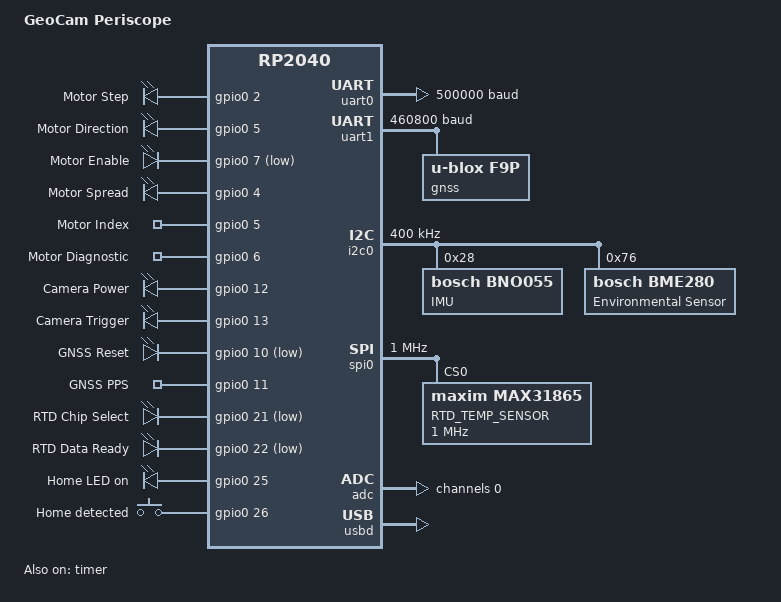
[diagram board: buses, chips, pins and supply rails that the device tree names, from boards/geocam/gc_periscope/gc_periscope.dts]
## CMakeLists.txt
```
cmake_minimum_required(VERSION 3.20.0)
list(APPEND BOARD_ROOT ${CMAKE_CURRENT_SOURCE_DIR})
find_package(Zephyr REQUIRED HINTS $ENV{ZEPHYR_BASE})
project(periscope_firmware)
FILE(GLOB app_sources src/*.c)
target_sources(app PRIVATE ${app_sources})
```

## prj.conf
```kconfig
CONFIG_USB_DEVICE_STACK=y
CONFIG_USB_DEVICE_PRODUCT="GeoCam Periscope"
CONFIG_USB_DEVICE_VID=0001
CONFIG_USB_DEVICE_MANUFACTURER="GeoCam"
CONFIG_USB_DEVICE_INITIALIZE_AT_BOOT=n
CONFIG_GPIO=y
CONFIG_EVENTS=y
CONFIG_SERIAL=y
CONFIG_LOG=y
CONFIG_LOG_PROCESS_TRIGGER_THRESHOLD=2
CONFIG_UART_ASYNC_API=y
CONFIG_CONSOLE=y
CONFIG_CBPRINTF_FP_SUPPORT=y
CONFIG_PIO_RPI_PICO=y
CONFIG_RESET=y
CONFIG_UART_CONSOLE=y
CONFIG_UART_LINE_CTRL=y
CONFIG_GNSS=y
CONFIG_ADC=y
CONFIG_GNSS_SATELLITES=y

CONFIG_WATCHDOG=n
CONFIG_WDT_DISABLE_AT_BOOT=y
```

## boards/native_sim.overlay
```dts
/*
 * native_sim overlay for GeoCam Periscope simulation
 * This provides GPIO emulation and multiple UARTs via host interfaces
 */

/ {
	aliases {
		/* Multiple UART support via host pseudo-terminals */
		motor-uart = &uart_motor;       /* Motor Driver - /dev/pts/1 */
		gnss-uart = &uart_gnss;        /* GNSS - /dev/pts/2 */
		console-uart = &uart_console;     /* Console/debug - /dev/pts/3 */

		/* I2C emulation for sensors */
		sensor-i2c = &i2c0;
	};

	/* Simulate motor control GPIOs as LEDs (outputs you can monitor) */
	motor_control {
		compatible = "gpio-leds";

		motor_step: motor_step {
			gpios = <&gpio0 0 GPIO_ACTIVE_HIGH>;
			label = "Motor Step (simulated)";
		};

		motor_dir: motor_dir {
			gpios = <&gpio0 1 GPIO_ACTIVE_HIGH>;
			label = "Motor Direction (simulated)";
		};

		motor_enable: motor_enable {
			gpios = <&gpio0 2 GPIO_ACTIVE_LOW>;
			label = "Motor Enable (simulated)";
		};

		motor_spread: motor_spread {
			gpios = <&gpio0 3 GPIO_ACTIVE_HIGH>;
			label = "Motor Spread (simulated)";
		};
	};

	/* Simulate motor feedback inputs as buttons (inputs you can trigger) */
	motor_inputs {
		compatible = "gpio-keys";

		motor_index: motor_index {
			gpios = <&gpio0 4 (GPIO_PULL_UP | GPIO_ACTIVE_LOW)>;
			label = "Motor Index (simulated)";
		};

		motor_diagnostic: motor_diagnostic {
			gpios = <&gpio0 5 (GPIO_PULL_UP | GPIO_ACTIVE_LOW)>;
			label = "Motor Diagnostic (simulated)";
		};
	};

	/* Camera control GPIOs */
	camera_control {
		compatible = "gpio-leds";

		cam_power: cam_power {
			gpios = <&gpio0 6 GPIO_ACTIVE_HIGH>;
			label = "Camera Power (simulated)";
		};

		cam_trigger: cam_trigger {
			gpios = <&gpio0 7 GPIO_ACTIVE_HIGH>;
			label = "Camera Trigger (simulated)";
		};
	};

	/* GNSS control and inputs */
	gnss_control {
		compatible = "gpio-leds";

		gnss_reset: gnss_reset {
			gpios = <&gpio0 8 GPIO_ACTIVE_LOW>;
			label = "GNSS Reset (simulated)";
		};
	};

	gnss_inputs {
		compatible = "gpio-keys";

		gnss_pps: gnss_pps {
			gpios = <&gpio0 9 (GPIO_PULL_DOWN | GPIO_ACTIVE_HIGH)>;
			label = "GNSS PPS (simulated)";
		};
	};

	/* Chosen node for console */
	chosen {
		zephyr,console = &uart_console;    /* Separate console UART */
		zephyr,shell-uart = &uart_console;
	};

	uart_motor: uart@100 {
		compatible = "zephyr,native-pty-uart";
		reg = <0x100 0x100>;
		status = "okay";
		current-speed = <115200>;
		label = "MOTOR_UART";
	};

	uart_gnss: uart@200 {
		compatible = "zephyr,native-pty-uart";
		reg = <0x200 0x100>;
		status = "okay";
		current-speed = <9600>;
		label = "GNSS_UART";
	};

	uart_console: uart@300 {
		compatible = "zephyr,native-pty-uart";
		reg = <0x300 0x100>;
		status = "okay";
		current-speed = <115200>;
		label = "CONSOLE_UART";
	};
};

/* Configure multiple UARTs - native_sim supports multiple instances */
//&uart0 {
//	status = "okay";
//	current-speed = <115200>;
//	label = "MOTOR_UART";
//};
//
//&uart1 {
//	status = "okay";
//	current-speed = <9600>;
//	label = "GNSS_UART";
//};
//
//&uart2 {
//	status = "okay";
//	current-speed = <115200>;
//	label = "CONSOLE_UART";
//};

/* Configure I2C for sensor emulation */
&i2c0 {
	status = "okay";
	clock-frequency = <400000>; /* 400 kHz */
	label = "SENSOR_I2C";

	/* Simulate your IMU */
	imu: imu@28 {
		compatible = "zephyr,i2c-emul-bme280"; /* Emulated BME280 */
		reg = <0x28>;
		label = "IMU_EMU";
	};

	/* Simulate your environmental sensor */
	env: env@76 {
		compatible = "zephyr,i2c-emul-bme280"; /* Emulated BME280 */
		reg = <0x76>;
		label = "ENV_EMU";
	};
};

/* Enable GPIO emulation */
&gpio0 {
	status = "okay";
	ngpios = <32>;  /* Number of GPIO pins to emulate */
};
```

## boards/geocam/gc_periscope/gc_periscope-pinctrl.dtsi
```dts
#include <dt-bindings/pinctrl/rpi-pico-rp2040-pinctrl.h>


&pinctrl {
	/* Motor Driver UART pins (GP0 TX, GP1 RX) */
	uart0_default: uart0_default {
		group1 {
			pinmux = <UART0_TX_P0>;     /* GP0 -> MOTOR.TXD */
		};
		group2 {
			pinmux = <UART0_RX_P1>;     /* GP1 -> MOTOR.RXD */
			input-enable;
		};
	};

	/* GNSS UART pins (GP8 TX, GP9 RX) */
	uart1_default: uart1_default {
		group1 {
			pinmux = <UART1_TX_P8>;    /* GP8 -> GNSS.TXD */
		};
		group2 {
			pinmux = <UART1_RX_P9>;    /* GP9 -> GNSS.RXD */
			input-enable;
		};
	};

	/* I2C pins for sensors (GP16 SDA, GP17 SCL) */
	i2c0_default: i2c0_default {
		group1 {
			pinmux = <I2C0_SDA_P16>, <I2C0_SCL_P17>;
			input-enable;
			input-schmitt-enable;
		};
	};

	/* SPI pins */
	spi0_default: spi0_default {
		group1 {
			pinmux = <SPI0_CSN_P21>, <SPI0_SCK_P18>, <SPI0_TX_P19>;
		};
		group2 {
			pinmux = <SPI0_RX_P20>;
			input-enable;
		};
	};
};
```

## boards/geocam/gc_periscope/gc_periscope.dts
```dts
/dts-v1/;
#include <raspberrypi/rpi_pico/rp2040.dtsi>
#include "gc_periscope-pinctrl.dtsi"

/ {
	model = "GeoCam Periscope";
	compatible = "geocam,gc_periscope";

	chosen {
		zephyr,sram = &sram0;
		zephyr,flash = &flash0;
		zephyr,flash-controller = &ssi;
		zephyr,console = &cdc_acm_uart0;
		zephyr,shell-uart = &uart0;
		zephyr,code-partition = &code_partition;
	};

	aliases {
		/* UART aliases */
		motor-uart = &uart0;            /* Motor Driver on GP0/GP1 */
		gnss-uart = &uart1;             /* GNSS on GP8/GP9 */
		console-uart = &uart0;          /* Can share with motor */

		/* I2C alias */
		sensor-i2c = &i2c0;             /* Sensors on GP16/GP17 */

		/* SPI alias for RTD temperature sensor */
		rtd-spi = &spi0;
	};


	/* GPIO configuration for motor driver */
	motor_control {
		compatible = "gpio-leds";

		motor_step: motor_step {
			gpios = <&gpio0 2 GPIO_ACTIVE_HIGH>;    /* STEP */
			label = "Motor Step";
		};

		motor_dir: motor_dir {
			gpios = <&gpio0 5 GPIO_ACTIVE_HIGH>;     /* DIR */
			label = "Motor Direction";
		};

		motor_enable: motor_enable {
			gpios = <&gpio0 7 GPIO_ACTIVE_LOW>;      /* Enable (active low) */
			label = "Motor Enable";
		};

		motor_spread: motor_spread {
			gpios = <&gpio0 4 GPIO_ACTIVE_HIGH>;     /* SPREAD */
			label = "Motor Spread";
		};
	};

	motor_inputs {
		compatible = "gpio-keys";

		motor_index: motor_index {
			gpios = <&gpio0 5 GPIO_ACTIVE_HIGH>;    /* INDEX */
			label = "Motor Index";
		};

		motor_diagnostic: motor_diagnostic {
			gpios = <&gpio0 6 GPIO_ACTIVE_HIGH>;    /* DIAGNOSTIC */
			label = "Motor Diagnostic";
		};
	};

	/* Camera/sensor controls */
	camera_control {
		compatible = "gpio-leds";

		cam_power: cam_power {
			gpios = <&gpio0 12 GPIO_ACTIVE_HIGH>;    /* CAM_PWR */
			label = "Camera Power";
		};

		cam_trigger: cam_trigger {
			gpios = <&gpio0 13 GPIO_ACTIVE_HIGH>;    /* CAM_TRIGGER */
			label = "Camera Trigger";
		};
	};

	gnss_control {
		compatible = "gpio-leds";

		gnss_reset: gnss_reset {
			gpios = <&gpio0 10 GPIO_ACTIVE_LOW>;     /* GNSS_RST */
			label = "GNSS Reset";
		};
	};

	gnss_inputs {
		compatible = "gpio-keys";

		gnss_pps: gnss_pps {
			gpios = <&gpio0 11 GPIO_ACTIVE_HIGH>;    /* GNSS_PPS */
			label = "GNSS PPS";
		};
	};

	/* RTD temperature sensor controls */
	rtd_control {
		compatible = "gpio-leds";

		rtd_cs: rtd_cs {
			gpios = <&gpio0 21 GPIO_ACTIVE_LOW>;     /* RTD_CS (GP35) */
			label = "RTD Chip Select";
		};

		rtd_drdy: rtd_drdy {
			gpios = <&gpio0 22 GPIO_ACTIVE_LOW>;     /* RTD_DRDY (GP36) */
			label = "RTD Data Ready";
		};
	};

	home_control {
		compatible = "gpio-leds";

		home_on: home_on {
			gpios = <&gpio0 25 GPIO_ACTIVE_HIGH>;     /* RTD_CS (GP35) */
			label = "Home LED on";
		};
	};

	home_inputs {
		compatible = "gpio-keys";

		home_det: home_det {
			gpios = <&gpio0 26 GPIO_ACTIVE_HIGH>;
			label = "Home detected";
		};
	};
};

&clk_sys {
	clock-frequency = <125000000>;  /* 125 MHz */
};

&flash0 {
	reg = <0x10000000 DT_SIZE_M(2)>;

	partitions {
		compatible = "fixed-partitions";
		#address-cells = <1>;
		#size-cells = <1>;

		/* Reserved memory for the second stage bootloader */
		second_stage_bootloader: partition@0 {
			label = "second_stage_bootloader";
			reg = <0x00000000 0x100>;
			read-only;
		};

		/*
		 * Usable flash. Starts at 0x100, after the bootloader. The partition
		 * size is 2MB minus the 0x100 bytes taken by the bootloader.
		 */
		code_partition: partition@100 {
			label = "code-partition";
			reg = <0x100 (DT_SIZE_M(2) - 0x100)>;
			read-only;
		};
	};
};

/* Motor Driver UART (GP0 TX, GP1 RX) */
&uart0 {
	status = "okay";
	current-speed = <500000>;           /* Adjust for Trinamic requirements */
	pinctrl-0 = <&uart0_default>;
	pinctrl-names = "default";
	label = "MOTOR_UART";
};

/* GNSS UART (GP8 TX, GP19 RX) */
&uart1 {
	status = "okay";
//	current-speed = <38400>;             /* Typical GNSS baud rate */
	current-speed = <460800>;             /* Typical GNSS baud rate */
	pinctrl-0 = <&uart1_default>;
	pinctrl-names = "default";
	label = "GNSS_UART";
	gnss: u_blox_f9 {
		compatible = "u-blox,f9p";
		status = "okay";
	};
};

/* I2C for sensors (GP17 SDA, GP16 SCL) */
&i2c0 {
	status = "okay";
	clock-frequency = <I2C_BITRATE_FAST>;
	pinctrl-0 = <&i2c0_default>;
	pinctrl-names = "default";
	label = "SENSOR_I2C";

	imu: imu@28 {
		compatible = "bosch,bno055";
		reg = <0x28>;
		label = "IMU";
	};

	env: env@76 {
		compatible = "bosch,bme280";
		reg = <0x76>;
		label = "Environmental Sensor";
	};
};

/* SPI for RTD temperature sensor (GP18 SCLK, GP19 SDI, GP20 SDO) */
&spi0 {
	status = "okay";
	clock-frequency = <1000000>;        /* 1 MHz for RTD */
	pinctrl-0 = <&spi0_default>;
	pinctrl-names = "default";
	label = "RTD_SPI";

	/* RTD temperature sensor device */
	rtd_sensor: rtd@0 {
		compatible = "maxim,max31865";   /* Example RTD-to-digital converter */
		reg = <0>;                      /* CS index */
		spi-max-frequency = <1000000>;
		label = "RTD_TEMP_SENSOR";

		/* Required properties for MAX31865 */
		resistance-at-zero = <100>;     /* 100Ω for PT100, 1000 for PT1000 */
		resistance-reference = <430>;   /* Reference resistor value in Ω */
		filter-50hz;                   /* Use 50Hz filter (remove for 60Hz) */
	};
};

/* ADC for analog sensors */
&adc {
	status = "okay";
	#address-cells = <1>;
	#size-cells = <0>;

	channel@0 {
		reg = <0>;
		zephyr,gain = "ADC_GAIN_1";
		zephyr,reference = "ADC_REF_INTERNAL";
		zephyr,acquisition-time = <ADC_ACQ_TIME_DEFAULT>;
		zephyr,resolution = <12>;
	};
};

&gpio0 {
	status = "okay";
};

&timer {
	status = "okay";
//	counter-mode = "external-clock";
};

&pio0 {
	status = "okay";
};


zephyr_udc0: &usbd {
	status = "okay";
	cdc_acm_uart0: cdc_acm_uart0 {
		compatible = "zephyr,cdc-acm-uart";
		label = "CONSOLE";
	};

	cdc_acm_uart1: cdc_acm_uart1 {
		compatible = "zephyr,cdc-acm-uart";
		label = "DATA";
	};
};
```

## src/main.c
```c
#include <zephyr/kernel.h>
#include <zephyr/usb/usb_device.h>
#include <zephyr/drivers/uart.h>
#include <zephyr/logging/log.h>
#include "usb_comm.h"
#include "motor_control.h"
#include "stepper.h"
#include "camera_control.h"
#include "gnss.h"
#include "messaging.h"

LOG_MODULE_REGISTER(gc_periscope, LOG_LEVEL_DBG);

int main(void)
{
    const struct device *const dev = DEVICE_DT_GET(DT_CHOSEN(zephyr_console));
    uint32_t dtr = 0;
    int timeout_count = 0;
    const int max_timeout = 5; // 0.5 second timeout

    if (usb_enable(NULL)) {
        printk("Failed to enable USB");
        return 0;
    }

    printk("Waiting for USB to stabilize...\n");
    k_sleep(K_MSEC(500));

    /* Poll DTR with timeout */
    while (!dtr && timeout_count < max_timeout) {
        printk("Polling DTR on console (%d/%d)\n", timeout_count, max_timeout);
        uart_line_ctrl_get(dev, UART_LINE_CTRL_DTR, &dtr);
        timeout_count++;
        k_sleep(K_MSEC(100));
    }

    if (dtr) {
        printk("DTR detected, host connected\n");
    } else {
        printk("DTR timeout, continuing anyway\n");
    }


    // Initialize message queues
    message_queue_init();
    //
    // // Start all subsystem threads
    usb_comm_start();
    gnss_start();
    motor_control_start();
    camera_control_start();
    stepper_control_start();

    LOG_INF("Periscope firmware started\n");
    k_msleep(10);

    while (1) {
        start_capture();
        k_event_wait(&system_events, EVENT_REQ_STOP, true, K_FOREVER);
        stop_capture();
        k_event_wait(&system_events, EVENT_REQ_START, true, K_FOREVER);
    }

    return 0;
}
```

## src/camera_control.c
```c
#include <zephyr/drivers/spi.h>
#include "camera_control.h"
#include "gnss.h"
#include "messaging.h"
#include <zephyr/logging/log.h>

#define CAMERA_THREAD_STACK_SIZE 1024
#define CAMERA_THREAD_PRIORITY 7

LOG_MODULE_DECLARE(gc_periscope, LOG_LEVEL_DBG);

K_THREAD_STACK_DEFINE(camera_thread_stack, CAMERA_THREAD_STACK_SIZE);
static struct k_thread camera_thread_data;
static const struct gpio_dt_spec trigger_pin = GPIO_DT_SPEC_GET(DT_NODELABEL(cam_trigger), gpios);
static const struct gpio_dt_spec power_pin = GPIO_DT_SPEC_GET(DT_NODELABEL(cam_power), gpios);

K_TIMER_DEFINE(exposure_timer, NULL, NULL);

static void trigger_callback(struct k_timer *timer_id)
{
    gpio_pin_set_dt(&trigger_pin, 0);
}

K_TIMER_DEFINE(trigger_timer, trigger_callback, NULL);

void camera_init_hardware(void) {
    gpio_pin_configure_dt(&trigger_pin, GPIO_OUTPUT);
}

void camera_control_start(void) {
    // Initialize camera hardware
    camera_init_hardware();

    k_thread_create(&camera_thread_data, camera_thread_stack,
                    K_THREAD_STACK_SIZEOF(camera_thread_stack),
                    camera_thread_entry, NULL, NULL, NULL,
                    CAMERA_THREAD_PRIORITY, 0, K_NO_WAIT);
}

int32_t exposure_time_us = 500000;

void camera_trigger(void) {
    const usb_msg_t msg = {
        .type = MSG_CAMERA_TRIGGER,
        .pps_offset_us = get_pps_offset_us(),
        .data = {0}
    };
    k_msgq_put(&usb_queue, &msg, K_NO_WAIT);

    gpio_pin_set_dt(&trigger_pin, 1);
    // turn pin off after 250ns
    k_timer_start(&trigger_timer, K_NSEC(250), K_NO_WAIT);
    k_timer_start(&exposure_timer, K_USEC(exposure_time_us), K_NO_WAIT);
}

void camera_thread_entry(void *p1, void *p2, void *p3) {
    while (1) {
        k_event_wait(&system_events, EVENT_START_CAPTURE, true, K_FOREVER);
        atomic_inc(&threads_running);

        while (atomic_get(&system_capturing)) {
            uint32_t events = k_event_wait(&system_events, EVENT_POSITIONED | EVENT_STOP_CAPTURE, false, K_FOREVER);
            if (events & EVENT_STOP_CAPTURE) {
                break;
            }

            k_event_clear(&system_events, EVENT_POSITIONED);

            camera_trigger();

            // wait for exposure to finish
            k_timer_status_sync(&exposure_timer);
            k_event_post(&system_events, EVENT_EXPOSURE_COMPLETE);
        }

        k_timer_stop(&exposure_timer);
        atomic_dec(&threads_running);
        k_event_post(&system_events, EVENT_THREAD_STOPPED);
    }
}
```

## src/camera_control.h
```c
#ifndef CAMERA_CONTROL_H
#define CAMERA_CONTROL_H

void camera_control_start(void);
void camera_thread_entry(void *, void *, void *);

#endif
```

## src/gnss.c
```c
#include <zephyr/device.h>
#include <zephyr/drivers/gnss.h>
#include <zephyr/logging/log.h>
#include "gnss.h"
#include "messaging.h"

LOG_MODULE_DECLARE(gc_periscope, LOG_LEVEL_DBG);

const struct gpio_dt_spec gnss_pps_pin = GPIO_DT_SPEC_GET(DT_NODELABEL(gnss_pps), gpios);
volatile uint64_t last_pps_timestamp = 0;
struct gpio_callback pps_cb_data;
const struct device *const gnss_uart = DEVICE_DT_GET(DT_NODELABEL(gnss));
K_THREAD_STACK_DEFINE(gnss_thread_stack, GNSS_THREAD_STACK_SIZE);
struct k_thread gnss_thread_data;


static void pps_isr_handler(const struct device *port, struct gpio_callback *cb, gpio_port_pins_t pins) {
    last_pps_timestamp = k_cycle_get_64();
}


void gnss_init_hardware(void) {
    if (!device_is_ready(gnss_uart)) {
        printk("GNSS device not ready\n");
    }

    gpio_pin_configure_dt(&gnss_pps_pin, GPIO_INPUT);
    gpio_pin_interrupt_configure_dt(&gnss_pps_pin, GPIO_INT_EDGE_RISING);

    gpio_init_callback(&pps_cb_data, pps_isr_handler, BIT(gnss_pps_pin.pin));
    gpio_add_callback(gnss_pps_pin.port, &pps_cb_data);
}


// Convert cycles to microseconds since last PPS
uint32_t get_pps_offset_us(void) {
    uint64_t now = k_cycle_get_64();
    uint64_t cycles_since_pps = now - last_pps_timestamp;

    // Convert to microseconds
    return (uint32_t) (k_cyc_to_us_floor64(cycles_since_pps));
}


void gnss_start(void) {
    gnss_init_hardware();

    k_thread_create(&gnss_thread_data, gnss_thread_stack,
                    K_THREAD_STACK_SIZEOF(gnss_thread_stack),
                    gnss_thread_entry, NULL, NULL, NULL,
                    GNSS_THREAD_PRIORITY, 0, K_NO_WAIT);
}

void gnss_thread_entry(void *p1, void *p2, void *p3) {
    while (1) {
        k_sleep(K_MSEC(1000));
        uint32_t fix_rate = 0;
        gnss_get_fix_rate(gnss_uart, &fix_rate);
        LOG_INF("GNSS fix rate is %d", fix_rate);
    }
}
```

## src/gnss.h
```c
#ifndef GNSS_H
#define GNSS_H

#include <zephyr/kernel.h>
#include "zephyr/drivers/gpio.h"

#define GNSS_UART_NODE DT_ALIAS(gnss_uart)
#define GNSS_THREAD_STACK_SIZE 1024
#define GNSS_THREAD_PRIORITY 7

// Declare as extern - definitions will be in gnss.c
extern const struct gpio_dt_spec gnss_pps_pin;
extern volatile uint64_t last_pps_timestamp;
extern struct gpio_callback pps_cb_data;
extern const struct device *const gnss_uart;
extern struct k_thread gnss_thread_data;

// Function declarations
void gnss_thread_entry(void *, void *, void *);
void gnss_start(void);
uint32_t get_pps_offset_us(void);

#endif
```

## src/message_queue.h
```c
#ifndef MESSAGE_QUEUE_H
#define MESSAGE_QUEUE_H

#include <zephyr/kernel.h>

typedef enum {
    MSG_MOTOR_MOVE,
    MSG_MOTOR_COMPLETE,
    MSG_CAMERA_CAPTURE,
    MSG_CAMERA_COMPLETE,
    MSG_USB_COMMAND
} msg_type_t;

typedef struct {
    msg_type_t type;
    union {
        struct {
            int steps;
            int direction;
        } motor_cmd;
        struct {
            char command[64];
        } usb_cmd;
        // Add other message payloads
    } data;
} app_message_t;

// Queue handles
extern struct k_msgq usb_to_motor_queue;
extern struct k_msgq motor_to_camera_queue;
extern struct k_msgq camera_to_usb_queue;

void message_queue_init(void);

#endif
```

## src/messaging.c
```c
#include "messaging.h"
#include "usb_comm.h"
#include <zephyr/kernel.h>
#include <zephyr/logging/log.h>

LOG_MODULE_DECLARE(gc_periscope, LOG_LEVEL_DBG);

K_EVENT_DEFINE(system_events);
K_MSGQ_DEFINE(usb_queue, sizeof(usb_msg_t), MSG_QUEUE_SIZE, MSG_QUEUE_ALIGN);

atomic_t system_capturing = ATOMIC_INIT(0);
atomic_t threads_running = ATOMIC_INIT(0);

void message_queue_init(void)
{
    LOG_INF("Initializing message queues");

    // Purge any existing messages (shouldn't be any, but just in case)
    k_msgq_purge(&usb_queue);

    LOG_INF("Message queues initialized successfully");
}

void msg_queue_purge_all(void)
{
    LOG_INF("Purging all message queues");

    k_msgq_purge(&usb_queue);
}

void start_capture(void)
{
    if (atomic_get(&system_capturing)) {
        LOG_INF("Already capturing\n");
        return;
    }

    LOG_INF("Starting capture...");
    atomic_set(&system_capturing, 1);
    k_event_post(&system_events, EVENT_START_CAPTURE);
}

void stop_capture(void)
{
    if (!atomic_get(&system_capturing)) {
        LOG_INF("Not currently capturing");
        return;
    }

    LOG_INF("Stopping capture...");

    // Get current thread count
    int expected_stops = atomic_get(&threads_running);

    // Signal stop
    atomic_set(&system_capturing, 0);
    k_event_post(&system_events, EVENT_STOP_CAPTURE);

    // Wait for all threads to stop
    for (int i = 0; i < expected_stops; i++) {
        k_event_wait(&system_events, EVENT_THREAD_STOPPED, false, K_SECONDS(5));
    }

    // Clear events for next time
    k_event_clear(&system_events, EVENT_START_CAPTURE | EVENT_THREAD_STOPPED);

    LOG_INF("All threads stopped\n");
}
```

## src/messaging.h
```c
#ifndef MESSAGING_H
#define MESSAGING_H

#include <zephyr/kernel.h>
#include <zephyr/sys/atomic.h>


#define EVENT_START_CAPTURE     BIT(0)
#define EVENT_STOP_CAPTURE      BIT(1)
#define EVENT_THREAD_STOPPED    BIT(2)
#define EVENT_REQ_START         BIT(3)
#define EVENT_REQ_STOP          BIT(4)

// When the motor has finished moving
#define EVENT_POSITIONED        BIT(5)

// When the camera has finished the exposure
#define EVENT_EXPOSURE_COMPLETE BIT(6)

#define EVENT_TRIGGER_STEPS     BIT(7)
#define EVENT_STEPS_COMPLETE    BIT(8)

extern struct k_event system_events;
extern atomic_t system_capturing;
extern atomic_t threads_running;

// Message queue definitions
#define MSG_QUEUE_SIZE 10
#define MSG_QUEUE_ALIGN 4

// USB message structure
typedef struct {
    uint8_t type;           // Message type identifier
    uint32_t pps_offset_us; // Microseconds since last PPS pulse
    uint8_t data[8];        // Additional data
} __packed usb_msg_t;

// Message types
#define MSG_PPS_MARK          0x00 // used to say what the time is
#define MSG_CAMERA_TRIGGER    0x01
#define MSG_IMU_ACC_DATA      0x02
#define MSG_IMU_GYRO_DATA     0x03
#define MSG_IMU_MAG_DATA      0x04

extern struct k_msgq usb_queue;

void message_queue_init(void);

void start_capture(void);
void stop_capture(void);

#endif
```

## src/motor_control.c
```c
#include <zephyr/drivers/gpio.h>
#include <zephyr/logging/log.h>
#include <zephyr/drivers/adc.h>
#include "motor_control.h"

#include <math.h>
#include <stdlib.h>
#include "messaging.h"
#include "tmc2209.h"

#define MICROSTEPS 8
#define STEPS_PER_MOVE 200  // 200 full steps per discrete move
#define MOVE_TIME_MS 250    // Time for each discrete move

LOG_MODULE_REGISTER(motor_control, LOG_LEVEL_DBG);

// S-curve motion profile
struct scurve_profile {
    uint32_t total_steps;      // Total steps to move
    uint32_t accel_steps;      // Steps during acceleration
    uint32_t decel_steps;      // Steps during deceleration
    uint32_t const_steps;      // Steps at constant velocity

    double max_velocity;       // Maximum velocity (steps/sec)
    double acceleration;       // Acceleration (steps/sec²)
    double jerk;              // Jerk (steps/sec³)

    uint32_t step_count;      // Current step count
    uint64_t start_time;      // Movement start time
};

// Define the global variables
const struct gpio_dt_spec motor_diag = GPIO_DT_SPEC_GET(DT_NODELABEL(motor_diagnostic), gpios);
const struct gpio_dt_spec motor_step = GPIO_DT_SPEC_GET(DT_NODELABEL(motor_step), gpios);
const struct gpio_dt_spec motor_dir = GPIO_DT_SPEC_GET(DT_NODELABEL(motor_dir), gpios);
const struct gpio_dt_spec motor_enable = GPIO_DT_SPEC_GET(DT_NODELABEL(motor_enable), gpios);
const struct gpio_dt_spec home_enable = GPIO_DT_SPEC_GET(DT_NODELABEL(home_on), gpios);
const struct gpio_dt_spec home_detect = GPIO_DT_SPEC_GET(DT_NODELABEL(home_det), gpios);

volatile int32_t motor_position = 0;  // Current position in microsteps
volatile bool home = false;
volatile bool movement_active = false;

// Callbacks and thread management
static struct gpio_callback home_cb_data;
static struct gpio_callback diag_cb_data;
static struct k_timer step_timer;
static struct scurve_profile profile;
static int32_t move_direction = 1;

const struct device *const motor_uart = DEVICE_DT_GET(MOTOR_UART_NODE);
K_THREAD_STACK_DEFINE(motor_thread_stack, MOTOR_THREAD_STACK_SIZE);
struct k_thread motor_thread_data;

uint32_t generate_chopconf(
    uint8_t diss2vs,     // Bit 31: Low side short protection disable (0-1)
    uint8_t diss2g,      // Bit 30: Short to GND protection disable (0-1)
    uint8_t dedge,       // Bit 29: Enable double edge step pulses (0-1)
    uint8_t intpol,      // Bit 28: Interpolation to 256 microsteps (0-1)
    uint8_t mres,        // Bits 27-24: Micro step resolution (0-15)
    uint8_t vsense,      // Bit 17: Sense resistor voltage based current scaling (0-1)
    uint8_t tbl,         // Bits 16-15: Blank time select (0-3)
    uint8_t hend,        // Bits 11-7: Hysteresis low value (0-15)
    uint8_t hstrt,       // Bits 6-4: Hysteresis start value (0-7)
    uint8_t toff         // Bits 3-0: Off time (0-15)
) {
    // Validate input ranges
    if (diss2vs > 1) diss2vs = 1;
    if (diss2g > 1) diss2g = 1;
    if (dedge > 1) dedge = 1;
    if (intpol > 1) intpol = 1;
    if (mres > 15) mres = 15;
    if (vsense > 1) vsense = 1;
    if (tbl > 3) tbl = 3;
    if (hend > 15) hend = 15;
    if (hstrt > 7) hstrt = 7;
    if (toff > 15) toff = 15;

    uint32_t result = 0;

    result |= ((uint32_t)(diss2vs & 0x01) << 31);
    result |= ((uint32_t)(diss2g & 0x01) << 30);
    result |= ((uint32_t)(dedge & 0x01) << 29);
    result |= ((uint32_t)(intpol & 0x01) << 28);
    result |= ((uint32_t)(mres & 0x0F) << 24);
    result |= ((uint32_t)(vsense & 0x01) << 17);
    result |= ((uint32_t)(tbl & 0x03) << 15);
    result |= ((uint32_t)(hend & 0x0F) << 7);
    result |= ((uint32_t)(hstrt & 0x07) << 4);
    result |= (toff & 0x0F);

    return result;
}

uint32_t ihold_irun(uint8_t ihold, uint8_t irun, uint8_t iholddelay) {
    if (ihold > 31) ihold = 31;
    if (irun > 31) irun = 31;
    if (iholddelay > 15) iholddelay = 15;

    uint16_t result = 0;
    result |= (ihold & 0x1F);
    result |= ((irun & 0x1F) << 8);
    result |= ((iholddelay & 0x0F) << 13);

    return result;
}

void home_interrupt_handler(const struct device *dev, struct gpio_callback *cb, uint32_t pins) {
    home = true;
    LOG_INF("Home detected");
}

void diag_interrupt_handler(const struct device *dev, struct gpio_callback *cb, uint32_t pins) {
    LOG_INF("Motor diagnostic triggered");
}

void check_motor_status() {
    uint32_t value;

    if (tmc2209_read_register(motor_uart, 0, 0x6F, &value) == 0) {
        LOG_INF("DRV_STATUS: 0x%08X", value);
        if (value & (1 << 31)) LOG_WRN("Standstill detected");
        if (value & (1 << 29)) LOG_WRN("Motor load detected");
    }

    if (tmc2209_read_register(motor_uart, 0, 0x06, &value) == 0) {
        LOG_INF("IOIN: 0x%08X", value);
    }

    if (tmc2209_read_register(motor_uart, 0, 0x01, &value) == 0) {
        LOG_INF("GSTAT: 0x%08X", value);
    }
}

void configure_motor() {
    /*
     * Configure TMC2209 for step/dir interface:
     * - External step/dir control
     * - Internal voltage reference
     * - Microstepping enabled
     */
    tmc2209_write_register(motor_uart, 0x00, 0x00, 0b0000100000); // Enable step/dir mode

    // Set current levels
    // tmc2209_write_register(motor_uart, 0x00, 0x10, ihold_irun(31, 31, 8));

    // Configure chopper
    tmc2209_write_register(motor_uart, 0x00, 0x6C, generate_chopconf(
        0,    // diss2vs: Short protection enabled
        0,    // diss2g: Short to GND protection enabled
        0,    // dedge: Normal step pulses
        1,    // intpol: Enable interpolation
        MRES_016, // microstep resolution
        0,    // vsense: Low sensitivity
        1,    // tbl: 24 clocks blank time
        12,   // hend: Hysteresis offset
        8,    // hstrt: Hysteresis start
        3     // toff: Off time
    ));

    // Power management
    tmc2209_write_register(motor_uart, 0x00, 0x11, 0); // No power down

    // Stallguard threshold
    tmc2209_write_register(motor_uart, 0x00, 0x40, 40);

    k_msleep(1);
}

void motor_init_hardware(void) {
    // Configure GPIO pins
    gpio_pin_configure_dt(&motor_dir, GPIO_OUTPUT);
    gpio_pin_configure_dt(&motor_enable, GPIO_OUTPUT);

    gpio_pin_configure_dt(&home_detect, GPIO_INPUT);
    gpio_pin_interrupt_configure_dt(&home_detect, GPIO_INT_EDGE_RISING);
    gpio_init_callback(&home_cb_data, home_interrupt_handler, BIT(home_detect.pin));
    gpio_add_callback(home_detect.port, &home_cb_data);

    gpio_pin_configure_dt(&motor_diag, GPIO_INPUT);
    gpio_pin_interrupt_configure_dt(&motor_diag, GPIO_INT_EDGE_RISING);
    gpio_init_callback(&diag_cb_data, diag_interrupt_handler, BIT(motor_diag.pin));
    gpio_add_callback(motor_diag.port, &diag_cb_data);

    // Set initial pin states
    gpio_pin_set_dt(&motor_dir, 0);
}

void motor_control_start(void) {
    tmc2209_init_uart(motor_uart);
    motor_init_hardware();

    gpio_pin_set_dt(&motor_enable, 0); // Initially disabled

    k_thread_create(&motor_thread_data, motor_thread_stack,
                    K_THREAD_STACK_SIZEOF(motor_thread_stack),
                    motor_thread_entry, NULL, NULL, NULL,
                    MOTOR_THREAD_PRIORITY, 0, K_NO_WAIT);
}

void motor_thread_entry(void *p1, void *p2, void *p3) {
    int32_t current_step = 0;
    int32_t direction = 1;
    const int32_t max_steps = 3; // Move 3 discrete steps in each direction

    while (1) {
        k_event_wait(&system_events, EVENT_START_CAPTURE, true, K_FOREVER);
        atomic_inc(&threads_running);
        gpio_pin_set_dt(&motor_enable, 1); // Enable motor
        configure_motor();

        while (atomic_get(&system_capturing)) {
            k_event_clear(&system_events, EVENT_EXPOSURE_COMPLETE);

            // Determine next position
            if (current_step >= max_steps) {
                direction = -1;
            } else if (current_step <= 0) {
                direction = 1;
            }

            LOG_INF("Moving motor discrete step %d (direction %d)", current_step, direction);

#ifndef CONFIG_BOARD_NATIVE_SIM
            uint64_t move_start = k_cycle_get_64();

            // Move one discrete step
            // move_discrete_step(direction);
            k_event_post(&system_events, EVENT_TRIGGER_STEPS);
            k_event_wait(&system_events, EVENT_STEPS_COMPLETE, true, K_FOREVER);
            // wait_for_movement_complete();

            uint64_t move_end = k_cycle_get_64();
            LOG_INF("Discrete move took %d us", (int32_t)k_cyc_to_us_floor64(move_end - move_start));
#endif
            current_step += direction;

            if (!atomic_get(&system_capturing)) {
                break;
            }

            k_event_post(&system_events, EVENT_POSITIONED);
            k_event_wait(&system_events, EVENT_EXPOSURE_COMPLETE | EVENT_STOP_CAPTURE, false, K_FOREVER);
        }

        gpio_pin_set_dt(&motor_enable, 0); // Disable motor
        atomic_dec(&threads_running);
        k_event_post(&system_events, EVENT_THREAD_STOPPED);
    }
}
```

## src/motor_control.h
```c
#ifndef MOTOR_CONTROL_H
#define MOTOR_CONTROL_H

#include <zephyr/kernel.h>
#include <zephyr/drivers/gpio.h>

#define MOTOR_THREAD_STACK_SIZE 1024
#define MOTOR_THREAD_PRIORITY 6
#define MOTOR_UART_NODE DT_ALIAS(motor_uart)

const static uint8_t MRES_256 = 0b0000;
const static uint8_t MRES_128 = 0b0001;
const static uint8_t MRES_064 = 0b0010;
const static uint8_t MRES_032 = 0b0011;
const static uint8_t MRES_016 = 0b0100;
const static uint8_t MRES_008 = 0b0101;
const static uint8_t MRES_004 = 0b0110;
const static uint8_t MRES_002 = 0b0111;
const static uint8_t MRES_001 = 0b1000;

// Declare as extern - definitions will be in motor_control.c
extern const struct gpio_dt_spec motor_index;
extern const struct device *const motor_uart;
extern struct k_thread motor_thread_data;

// Function declarations
void motor_thread_entry(void *, void *, void *);
void motor_control_start(void);

#endif
```

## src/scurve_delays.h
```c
#ifndef SCURVE_DELAYS_H
#define SCURVE_DELAYS_H

#include <stdint.h>

// S-curve step delays in microseconds
// Total steps: 1600
// Min delay: 78.6 μs, Max delay: 1250.0 μs
const uint16_t pulse_delays[1600] = {
    1250, 1249, 1249, 1249, 1249, 1249, 1249, 1249, 1249, 1249,  // Steps 1-10
    1249, 1249, 1249, 1249, 1249, 1249, 1249, 1249, 1249, 1249,  // Steps 11-20
    1249, 1249, 1248, 1248, 1248, 1248, 1248, 1248, 1247, 1247,  // Steps 21-30
    1247, 1247, 1246, 1246, 1246, 1245, 1245, 1245, 1244, 1244,  // Steps 31-40
    1243, 1243, 1242, 1242, 1241, 1241, 1240, 1239, 1239, 1238,  // Steps 41-50
    1237, 1237, 1236, 1235, 1234, 1234, 1233, 1232, 1231, 1230,  // Steps 51-60
    1229, 1228, 1227, 1226, 1224, 1224, 1222, 1221, 1220, 1219,  // Steps 61-70
    1217, 1216, 1214, 1213, 1211, 1210, 1208, 1207, 1205, 1204,  // Steps 71-80
    1201, 1200, 1198, 1197, 1194, 1193, 1190, 1189, 1186, 1185,  // Steps 81-90
    1182, 1181, 1178, 1176, 1173, 1172, 1168, 1167, 1164, 1162,  // Steps 91-100
    1159, 1157, 1153, 1152, 1148, 1146, 1143, 1141, 1139, 1135,  // Steps 101-110
    1133, 1129, 1127, 1123, 1121, 1117, 1115, 1111, 1109, 1104,  // Steps 111-120
    1102, 1098, 1096, 1091, 1089, 1084, 1082, 1077, 1075, 1070,  // Steps 121-130
    1068, 1063, 1061, 1056, 1053, 1048, 1046, 1041, 1038, 1033,  // Steps 131-140
    1030, 1025, 1022, 1017, 1014, 1009, 1006, 1001,  998,  993,  // Steps 141-150
     990,  984,  982,  976,  973,  968,  965,  959,  956,  950,  // Steps 151-160
     948,  945,  939,  936,  930,  927,  921,  918,  913,  910,  // Steps 161-170
     904,  901,  895,  892,  886,  883,  877,  874,  868,  865,  // Steps 171-180
     859,  856,  850,  847,  841,  838,  832,  829,  823,  820,  // Steps 181-190
     814,  811,  805,  802,  796,  793,  787,  784,  778,  775,  // Steps 191-200
     769,  766,  760,  757,  751,  748,  742,  739,  734,  731,  // Steps 201-210
     725,  722,  716,  713,  710,  705,  702,  696,  693,  687,  // Steps 211-220
     685,  679,  676,  670,  668,  662,  659,  654,  651,  646,  // Steps 221-230
     643,  637,  635,  629,  627,  621,  618,  613,  611,  605,  // Steps 231-240
     603,  597,  595,  590,  587,  582,  579,  574,  572,  567,  // Steps 241-250
     564,  559,  557,  552,  549,  545,  542,  537,  535,  530,  // Steps 251-260
     528,  523,  521,  516,  514,  509,  507,  505,  500,  498,  // Steps 261-270
     493,  491,  487,  485,  480,  478,  474,  472,  467,  465,  // Steps 271-280
     461,  459,  455,  453,  449,  447,  443,  441,  437,  435,  // Steps 281-290
     431,  429,  425,  423,  419,  417,  413,  412,  408,  406,  // Steps 291-300
     402,  400,  397,  395,  391,  390,  386,  384,  381,  379,  // Steps 301-310
     376,  374,  371,  369,  366,  364,  361,  359,  356,  354,  // Steps 311-320
     353,  349,  348,  345,  343,  340,  339,  336,  334,  331,  // Steps 321-330
     330,  327,  325,  322,  321,  318,  317,  314,  312,  310,  // Steps 331-340
     308,  305,  304,  301,  300,  297,  296,  293,  292,  290,  // Steps 341-350
     288,  286,  284,  282,  281,  278,  277,  275,  273,  271,  // Steps 351-360
     270,  267,  266,  264,  263,  260,  259,  257,  256,  254,  // Steps 361-370
     253,  250,  249,  248,  246,  245,  243,  242,  240,  239,  // Steps 371-380
     237,  236,  234,  233,  231,  230,  228,  227,  225,  224,  // Steps 381-390
     222,  221,  219,  218,  217,  216,  214,  213,  211,  210,  // Steps 391-400
     208,  208,  206,  205,  203,  203,  201,  200,  198,  198,  // Steps 401-410
     196,  195,  194,  193,  192,  191,  189,  189,  187,  187,  // Steps 411-420
     185,  185,  183,  182,  181,  181,  179,  179,  178,  177,  // Steps 421-430
     176,  175,  174,  173,  172,  171,  171,  169,  169,  168,  // Steps 431-440
     167,  166,  166,  164,  164,  163,  162,  161,  161,  160,  // Steps 441-450
     159,  158,  158,  157,  156,  155,  155,  154,  153,  153,  // Steps 451-460
     152,  151,  151,  150,  149,  149,  148,  147,  147,  146,  // Steps 461-470
     146,  145,  144,  144,  143,  142,  142,  141,  141,  140,  // Steps 471-480
     140,  139,  139,  138,  137,  137,  136,  136,  135,  135,  // Steps 481-490
     134,  134,  133,  133,  132,  132,  131,  131,  130,  130,  // Steps 491-500
     129,  129,  128,  128,  127,  127,  127,  126,  126,  125,  // Steps 501-510
     125,  124,  124,  124,  123,  123,  122,  122,  121,  121,  // Steps 511-520
     121,  120,  120,  120,  119,  119,  118,  118,  118,  117,  // Steps 521-530
     117,  117,  116,  116,  116,  115,  115,  114,  114,  114,  // Steps 531-540
     113,  113,  113,  112,  112,  112,  111,  111,  111,  110,  // Steps 541-550
     110,  110,  110,  109,  109,  109,  108,  108,  108,  107,  // Steps 551-560
     107,  107,  107,  106,  106,  106,  105,  105,  105,  105,  // Steps 561-570
     104,  104,  104,  103,  103,  103,  103,  102,  102,  102,  // Steps 571-580
     102,  101,  101,  101,  101,  100,  100,  100,  100,  100,  // Steps 581-590
      99,   99,   99,   99,   98,   98,   98,   98,   98,   97,  // Steps 591-600
      97,   97,   97,   97,   96,   96,   96,   96,   95,   95,  // Steps 601-610
      95,   95,   95,   95,   94,   94,   94,   94,   94,   93,  // Steps 611-620
      93,   93,   93,   93,   92,   92,   92,   92,   92,   92,  // Steps 621-630
      91,   91,   91,   91,   91,   91,   90,   90,   90,   90,  // Steps 631-640
      90,   90,   90,   89,   89,   89,   89,   89,   89,   88,  // Steps 641-650
      88,   88,   88,   88,   88,   88,   88,   87,   87,   87,  // Steps 651-660
      87,   87,   87,   87,   86,   86,   86,   86,   86,   86,  // Steps 661-670
      86,   86,   85,   85,   85,   85,   85,   85,   85,   85,  // Steps 671-680
      85,   84,   84,   84,   84,   84,   84,   84,   84,   84,  // Steps 681-690
      83,   83,   83,   83,   83,   83,   83,   83,   83,   83,  // Steps 691-700
      83,   82,   82,   82,   82,   82,   82,   82,   82,   82,  // Steps 701-710
      82,   82,   82,   81,   81,   81,   81,   81,   81,   81,  // Steps 711-720
      81,   81,   81,   81,   81,   81,   81,   80,   80,   80,  // Steps 721-730
      80,   80,   80,   80,   80,   80,   80,   80,   80,   80,  // Steps 731-740
      80,   80,   80,   80,   79,   79,   79,   79,   79,   79,  // Steps 741-750
      79,   79,   79,   79,   79,   79,   79,   79,   79,   79,  // Steps 751-760
      79,   79,   79,   79,   79,   79,   79,   79,   79,   79,  // Steps 761-770
      79,   78,   78,   78,   78,   78,   78,   78,   78,   78,  // Steps 771-780
      78,   78,   78,   78,   78,   78,   78,   78,   78,   78,  // Steps 781-790
      78,   78,   78,   78,   78,   78,   78,   78,   78,   78,  // Steps 791-800
      78,   78,   78,   78,   78,   78,   78,   78,   78,   78,  // Steps 801-810
      78,   78,   78,   78,   78,   78,   78,   78,   78,   78,  // Steps 811-820
      78,   78,   78,   78,   78,   78,   78,   78,   78,   79,  // Steps 821-830
      79,   79,   79,   79,   79,   79,   79,   79,   79,   79,  // Steps 831-840
      79,   79,   79,   79,   79,   79,   79,   79,   79,   79,  // Steps 841-850
      79,   79,   79,   79,   79,   79,   80,   80,   80,   80,  // Steps 851-860
      80,   80,   80,   80,   80,   80,   80,   80,   80,   80,  // Steps 861-870
      80,   80,   80,   81,   81,   81,   81,   81,   81,   81,  // Steps 871-880
      81,   81,   81,   81,   81,   81,   81,   82,   82,   82,  // Steps 881-890
      82,   82,   82,   82,   82,   82,   82,   82,   82,   83,  // Steps 891-900
      83,   83,   83,   83,   83,   83,   83,   83,   83,   83,  // Steps 901-910
      84,   84,   84,   84,   84,   84,   84,   84,   84,   85,  // Steps 911-920
      85,   85,   85,   85,   85,   85,   85,   85,   86,   86,  // Steps 921-930
      86,   86,   86,   86,   86,   86,   87,   87,   87,   87,  // Steps 931-940
      87,   87,   87,   88,   88,   88,   88,   88,   88,   88,  // Steps 941-950
      88,   89,   89,   89,   89,   89,   89,   90,   90,   90,  // Steps 951-960
      90,   90,   90,   90,   91,   91,   91,   91,   91,   91,  // Steps 961-970
      92,   92,   92,   92,   92,   92,   93,   93,   93,   93,  // Steps 971-980
      93,   94,   94,   94,   94,   94,   95,   95,   95,   95,  // Steps 981-990
      95,   95,   96,   96,   96,   96,   97,   97,   97,   97,  // Steps 991-1000
      97,   98,   98,   98,   98,   98,   99,   99,   99,   99,  // Steps 1001-1010
     100,  100,  100,  100,  100,  101,  101,  101,  101,  102,  // Steps 1011-1020
     102,  102,  102,  103,  103,  103,  103,  104,  104,  104,  // Steps 1021-1030
     105,  105,  105,  105,  106,  106,  106,  107,  107,  107,  // Steps 1031-1040
     107,  108,  108,  108,  109,  109,  109,  110,  110,  110,  // Steps 1041-1050
     110,  111,  111,  111,  112,  112,  112,  113,  113,  113,  // Steps 1051-1060
     114,  114,  114,  115,  115,  116,  116,  116,  117,  117,  // Steps 1061-1070
     117,  118,  118,  118,  119,  119,  120,  120,  120,  121,  // Steps 1071-1080
     121,  121,  122,  122,  123,  123,  124,  124,  124,  125,  // Steps 1081-1090
     125,  126,  126,  127,  127,  127,  128,  128,  129,  129,  // Steps 1091-1100
     130,  130,  131,  131,  132,  132,  133,  133,  134,  134,  // Steps 1101-1110
     135,  135,  136,  136,  137,  137,  138,  139,  139,  140,  // Steps 1111-1120
     140,  141,  141,  142,  142,  143,  144,  144,  145,  146,  // Steps 1121-1130
     146,  147,  147,  148,  149,  149,  150,  151,  151,  152,  // Steps 1131-1140
     153,  153,  154,  155,  155,  156,  157,  158,  158,  159,  // Steps 1141-1150
     160,  161,  161,  162,  163,  164,  164,  166,  166,  167,  // Steps 1151-1160
     168,  169,  169,  171,  171,  172,  173,  174,  175,  176,  // Steps 1161-1170
     177,  178,  179,  179,  181,  181,  182,  183,  185,  185,  // Steps 1171-1180
     187,  187,  189,  189,  191,  192,  193,  194,  195,  196,  // Steps 1181-1190
     198,  198,  200,  201,  203,  203,  205,  206,  208,  208,  // Steps 1191-1200
     210,  211,  213,  214,  216,  217,  218,  219,  221,  222,  // Steps 1201-1210
     224,  225,  227,  228,  230,  231,  233,  234,  236,  237,  // Steps 1211-1220
     239,  240,  242,  243,  245,  246,  248,  249,  250,  253,  // Steps 1221-1230
     254,  256,  257,  259,  260,  263,  264,  266,  267,  270,  // Steps 1231-1240
     271,  273,  275,  277,  278,  281,  282,  284,  286,  288,  // Steps 1241-1250
     290,  292,  293,  296,  297,  300,  301,  304,  305,  308,  // Steps 1251-1260
     310,  312,  314,  317,  318,  321,  322,  325,  327,  330,  // Steps 1261-1270
     331,  334,  336,  339,  340,  343,  345,  348,  349,  353,  // Steps 1271-1280
     354,  356,  359,  361,  364,  366,  369,  371,  374,  376,  // Steps 1281-1290
     379,  381,  384,  386,  390,  391,  395,  397,  400,  402,  // Steps 1291-1300
     406,  408,  412,  413,  417,  419,  423,  425,  429,  431,  // Steps 1301-1310
     435,  437,  441,  443,  447,  449,  453,  455,  459,  461,  // Steps 1311-1320
     465,  467,  472,  474,  478,  480,  485,  487,  491,  493,  // Steps 1321-1330
     498,  500,  505,  507,  509,  514,  516,  521,  523,  528,  // Steps 1331-1340
     530,  535,  537,  542,  545,  549,  552,  557,  559,  564,  // Steps 1341-1350
     567,  572,  574,  579,  582,  587,  590,  595,  597,  603,  // Steps 1351-1360
     605,  611,  613,  618,  621,  627,  629,  635,  637,  643,  // Steps 1361-1370
     646,  651,  654,  659,  662,  668,  670,  676,  679,  685,  // Steps 1371-1380
     687,  693,  696,  702,  705,  710,  713,  716,  722,  725,  // Steps 1381-1390
     731,  734,  739,  742,  748,  751,  757,  760,  766,  769,  // Steps 1391-1400
     775,  778,  784,  787,  793,  796,  802,  805,  811,  814,  // Steps 1401-1410
     820,  823,  829,  832,  838,  841,  847,  850,  856,  859,  // Steps 1411-1420
     865,  868,  874,  877,  883,  886,  892,  895,  901,  904,  // Steps 1421-1430
     910,  913,  918,  921,  927,  930,  936,  939,  945,  948,  // Steps 1431-1440
     950,  956,  959,  965,  968,  973,  976,  982,  984,  990,  // Steps 1441-1450
     993,  998, 1001, 1006, 1009, 1014, 1017, 1022, 1025, 1030,  // Steps 1451-1460
    1033, 1038, 1041, 1046, 1048, 1053, 1056, 1061, 1063, 1068,  // Steps 1461-1470
    1070, 1075, 1077, 1082, 1084, 1089, 1091, 1096, 1098, 1102,  // Steps 1471-1480
    1104, 1109, 1111, 1115, 1117, 1121, 1123, 1127, 1129, 1133,  // Steps 1481-1490
    1135, 1139, 1141, 1143, 1146, 1148, 1152, 1153, 1157, 1159,  // Steps 1491-1500
    1162, 1164, 1167, 1168, 1172, 1173, 1176, 1178, 1181, 1182,  // Steps 1501-1510
    1185, 1186, 1189, 1190, 1193, 1194, 1197, 1198, 1200, 1201,  // Steps 1511-1520
    1204, 1205, 1207, 1208, 1210, 1211, 1213, 1214, 1216, 1217,  // Steps 1521-1530
    1219, 1220, 1221, 1222, 1224, 1224, 1226, 1227, 1228, 1229,  // Steps 1531-1540
    1230, 1231, 1232, 1233, 1234, 1234, 1235, 1236, 1237, 1237,  // Steps 1541-1550
    1238, 1239, 1239, 1240, 1241, 1241, 1242, 1242, 1243, 1243,  // Steps 1551-1560
    1244, 1244, 1245, 1245, 1245, 1246, 1246, 1246, 1247, 1247,  // Steps 1561-1570
    1247, 1247, 1248, 1248, 1248, 1248, 1248, 1248, 1249, 1249,  // Steps 1571-1580
    1249, 1249, 1249, 1249, 1249, 1249, 1249, 1249, 1249, 1249,  // Steps 1581-1590
    1249, 1249, 1249, 1249, 1249, 1249, 1249, 1249, 1249, 1250  // Steps 1591-1600
};

#define PULSE_SEQUENCE_LENGTH 1600
#define MIN_DELAY_US 78
#define MAX_DELAY_US 1250

#endif // SCURVE_DELAYS_H
```

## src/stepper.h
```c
//
// Created by linus on 6/26/25.
//

#ifndef STEPPER_H
#define STEPPER_H

#include <zephyr/kernel.h>
#include <zephyr/drivers/gpio.h>

#define STEPPER_THREAD_STACK_SIZE 1024
#define STEPPER_THREAD_PRIORITY 3

extern struct k_thread motor_thread_data;

// Function declarations
void stepper_thread_entry(void *, void *, void *);
void stepper_control_start(void);

#endif //STEPPER_H
```
